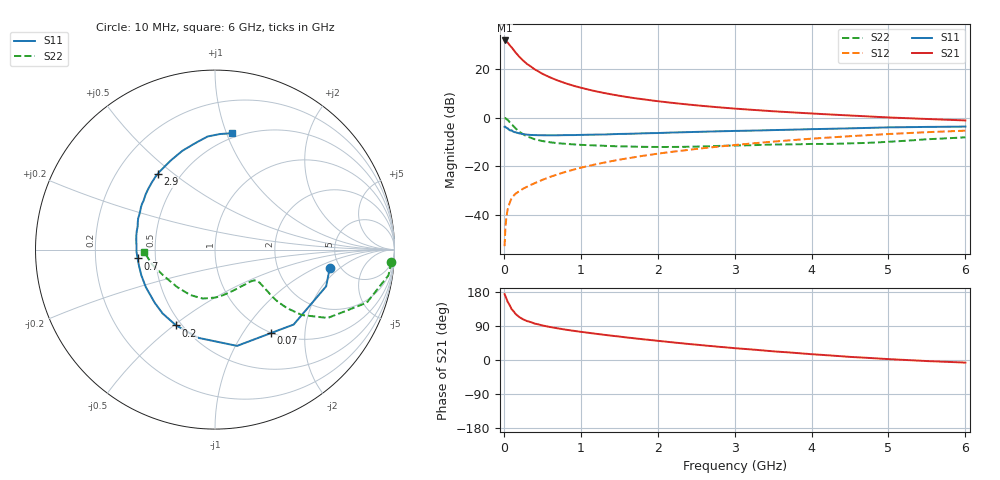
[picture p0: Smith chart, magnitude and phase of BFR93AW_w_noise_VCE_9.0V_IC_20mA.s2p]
! Infineon Technologies  Discrete & RF Semiconductors
! BFR93AW
! VCE =  9.0 V,  IC =  20 mA
! Common Emitter S-Parameters:  Jan 2017
# GHz  S  MA  R  50
!  f  S11  S21  S12  S22
! GHz  MAG  ANG  MAG  ANG  MAG  ANG  MAG  ANG
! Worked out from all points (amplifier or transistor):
!   77 points, 10 MHz to 6 GHz, reference 50 ohm
!   highest |S21| = 31.7 dB at 10 MHz (marker M1)
!   |S21| within 3 dB of that: start of sweep to 105.2 MHz
!   unconditionally stable (mu >= 1): 688.8 MHz to 2.043 GHz
!   at 130 MHz: K = 0.43, MSG = 29.8 dB, |S12| = -32.0 dB
!   at 2.2 GHz: K = 0.99, MSG = 10.0 dB, |S12| = -14.0 dB
!   at 6 GHz: K = 0.86, MSG = 2.1 dB, |S12| = -5.4 dB
!   lowest NFmin = 1.52 dB at 450 MHz
!   S11 on the Smith chart (normalised r, x): 10 MHz: 4.13, -1.46; 70 MHz: 1.00, -1.35; 200 MHz: 0.47, -0.51; 700 MHz: 0.40, -0.05; 2.9 GHz: 0.38, +0.44; 6 GHz: 0.46, +1.04
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0.01  0.6477 -9.1  38.32 173.8  0.0023 88.9  0.9844 -4.0
0.02  0.6521 -18.3  38.07 168.6  0.0054 82.3  0.9771 -8.4
0.05  0.6053 -43.6  34.68 153.4  0.0132 72.3  0.8957 -19.3
0.07  0.5601 -56.1  31.52 146.8  0.0167 67.2  0.8273 -23.5
0.1  0.5503 -77.1  27.79 134.4  0.022 62.7  0.735 -31.2
0.15  0.5004 -100.6  21.96 122.0  0.0273 57.7  0.6055 -37.0
0.2  0.4748 -117.2  17.79 113.5  0.0309 57.0  0.5162 -39.1
0.25  0.4602 -129.4  14.86 107.3  0.0347 57.8  0.456 -39.7
0.3  0.4478 -138.6  12.66 102.9  0.038 57.7  0.4121 -39.4
0.4  0.4385 -151.5  9.807 96.2  0.045 61.3  0.3608 -38.1
0.5  0.4347 -160.8  7.95 91.2  0.0526 62.9  0.3307 -37.2
0.6  0.4329 -167.9  6.7 87.1  0.0607 64.6  0.3119 -36.6
0.7  0.4339 -173.5  5.776 83.6  0.0684 66.0  0.2986 -36.4
0.9  0.438 177.1  4.534 77.2  0.0849 67.5  0.2826 -37.5
1.1  0.4455 169.7  3.755 71.8  0.1019 68.1  0.2723 -39.8
1.5  0.462 157.9  2.81 61.9  0.1367 67.7  0.2575 -47.2
2.1  0.4884 143.3  2.085 48.6  0.1907 64.7  0.2496 -63.4
2.9  0.5283 127.3  1.577 33.1  0.2644 58.9  0.2649 -87.7
3.1  0.5362 123.5  1.493 29.7  0.2831 57.1  0.2691 -93.4
4.1  0.5836 106.7  1.192 14.0  0.3784 47.5  0.2879 -121.8
5.1  0.6334 92.5  0.993 1.3  0.4688 36.5  0.3258 -155.4
6  0.6548 81.9  0.875 -6.9  0.5398 26.2  0.3943 -178.0
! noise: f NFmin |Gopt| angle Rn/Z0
0.45  1.52  0.14  161  0.15
0.9  1.8  0.23  175  0.15
1.9  2.8  0.48  -138  0.23
2.4  3.43  0.54  -126  0.45
